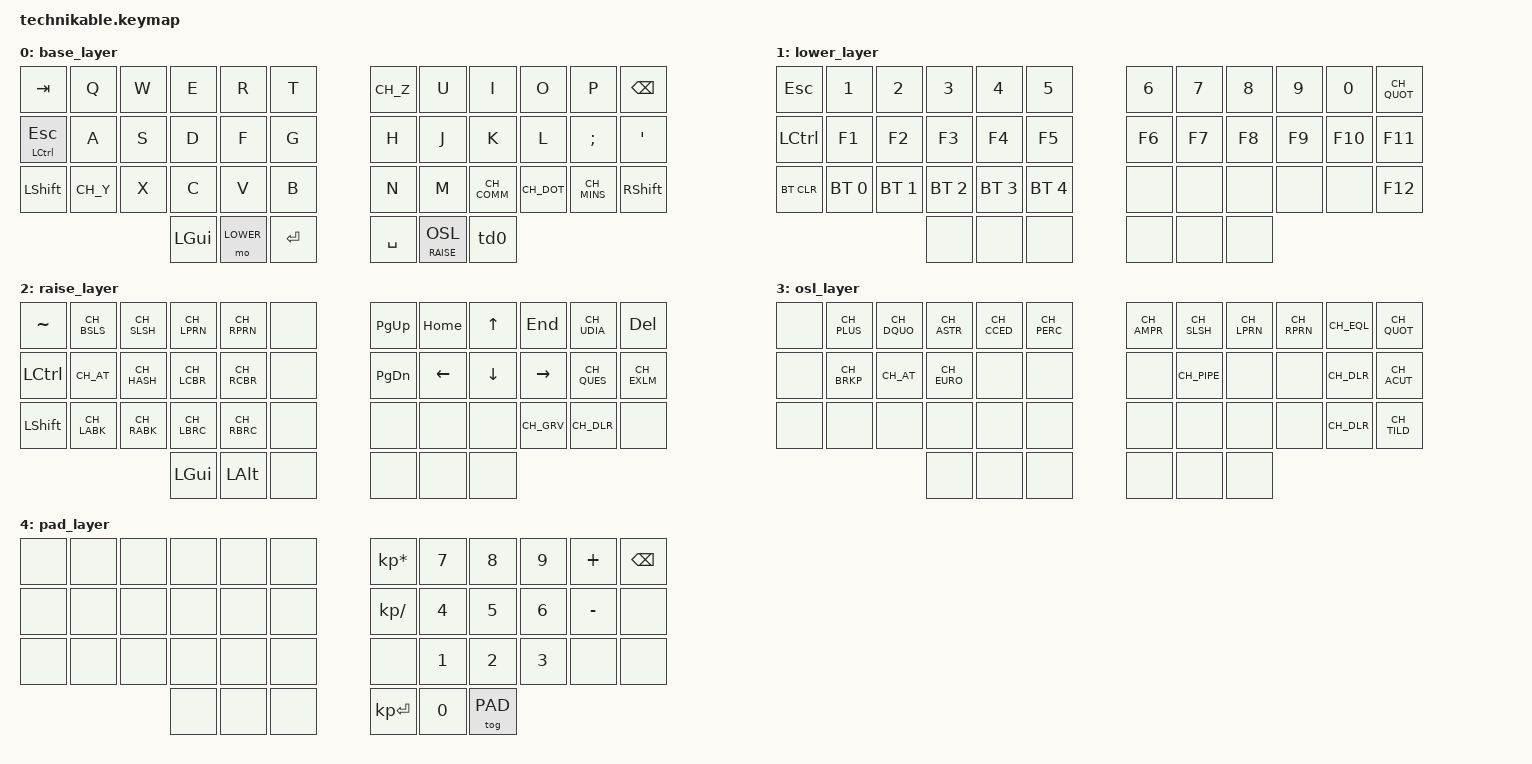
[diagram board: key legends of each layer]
/*
 * Copyright (c) 2022 Pete Johanson
 *
 * SPDX-License-Identifier: MIT
 */

#include <behaviors.dtsi>
#include <dt-bindings/zmk/keys.h>
#include <dt-bindings/zmk/bt.h>
#include <dt-bindings/zmk/outputs.h>
#include "keymap_swiss_de.h"

#define BAS_L 0
#define LOWER 1
#define RAISE 2
#define OSL   3
#define GAME  4
#define PAD   5

// Using layer taps on thumbs, having quick tap as well helps w/ repeating space/backspace
&lt { quick_tap_ms = <200>; };
&mt { tapping-term-ms = <150>; };

/ {
    chosen {
       zmk,matrix_transform = &dual_2u_transform;
    };

    behaviors {
        mo_sl: behavior_mo_sl {
            compatible = "zmk,behavior-hold-tap";
            label = "mo_sl";
            #binding-cells = <2>;
            flavor = "hold-preferred";
            tapping-term-ms = <150>;
            bindings = <&mo>, <&sl>;
        };
        td0: td_alt_dance {
            compatible = "zmk,behavior-tap-dance";
            label = "ALTD";
            #binding-cells = <0>;
            tapping-term-ms = <150>;
            bindings = <&kp LALT>, <&kp RALT>, <&tog PAD>;
        };
    };

    keymap {
        compatible = "zmk,keymap";

        base_layer {
            bindings = <
//,---------------------------------------------------------------------------------------------------------------------------------------------------------.
    &kp TAB      &kp Q        &kp W        &kp E        &kp R        &kp T      &kp CH_Z    &kp U        &kp I      &kp O       &kp P        &kp BSPC
//|-------------+------------+------------+------------+------------+----------+-----------+------------+----------+-----------+------------+----------|
    &mt LCTRL ESC  &kp A      &kp S        &kp D        &kp F        &kp G      &kp H       &kp J        &kp K      &kp L       &kp SEMI     &kp SQT
//|-------------+------------+------------+------------+------------+----------+-----------+------------+----------+-----------+------------+----------|
    &kp LSHFT    &kp CH_Y     &kp X        &kp C        &kp V        &kp B      &kp N       &kp M        &kp CH_COMM &kp CH_DOT &kp CH_MINS  &kp RSHIFT
//|-------------+------------+------------+------------+------------+----------+-----------+------------+----------+-----------+------------+----------|
                                           &kp LGUI     &mo LOWER    &kp RET    &kp SPACE   &mo_sl RAISE OSL &td0
//,---------------------------------------+------------+------------+----------+-----------+------------+-------------------------------------------.
            >;
        };
        lower_layer {
            bindings = <
//,---------------------------------------------------------------------------------------------------------------------------------------------------------.
    &kp ESC      &kp N1       &kp N2       &kp N3       &kp N4       &kp N5     &kp N6      &kp N7       &kp N8     &kp N9      &kp N0       &kp CH_QUOT
//|-------------+------------+------------+------------+------------+----------+-----------+------------+----------+-----------+------------+----------|
    &kp LCTRL    &kp F1       &kp F2       &kp F3       &kp F4       &kp F5     &kp F6      &kp F7       &kp F8     &kp F9      &kp F10      &kp F11
//|-------------+------------+------------+------------+------------+----------+-----------+------------+----------+-----------+------------+----------|
    &bt BT_CLR   &bt BT_SEL 0 &bt BT_SEL 1 &bt BT_SEL 2 &bt BT_SEL 3 &bt BT_SEL 4  &none       &none        &none      &none       &none        &kp F12
//|-------------+------------+------------+------------+------------+----------+-----------+------------+----------+-----------+------------+----------|
                          	               &none        &none        &none      &none       &none        &none
//,---------------------------------------+------------+------------+----------+-----------+------------+-------------------------------------------.
            >;
        };
        raise_layer {
            bindings = <
//,---------------------------------------------------------------------------------------------------------------------------------------------------------.
    &kp TILDE    &kp CH_BSLS  &kp CH_SLSH  &kp CH_LPRN  &kp CH_RPRN  &none      &kp PG_UP    &kp HOME     &kp UP      &kp END    &kp CH_UDIA  &kp DEL
//|-------------+------------+------------+------------+------------+----------+-----------+------------+----------+-----------+------------+----------|
    &kp LCTRL    &kp CH_AT    &kp CH_HASH  &kp CH_LCBR  &kp CH_RCBR  &none      &kp PG_DN    &kp LEFT     &kp DOWN    &kp RIGHT  &kp CH_QUES  &kp CH_EXLM
//|-------------+------------+------------+------------+------------+----------+-----------+------------+----------+-----------+------------+----------|
    &kp LSHFT    &kp CH_LABK  &kp CH_RABK  &kp CH_LBRC  &kp CH_RBRC  &none      &none       &none        &none      &kp CH_GRV  &kp CH_DLR   &none
//|-------------+------------+------------+------------+------------+----------+-----------+------------+----------+-----------+------------+----------|
                                           &kp LGUI     &kp LALT     &none      &none       &none        &none
//,---------------------------------------+------------+------------+----------+-----------+------------+-------------------------------------------.
            >;
        };
        osl_layer {
            bindings = <
//,---------------------------------------------------------------------------------------------------------------------------------------------------------.
    &none        &kp CH_PLUS  &kp CH_DQUO  &kp CH_ASTR  &kp CH_CCED  &kp CH_PERC  &kp CH_AMPR &kp CH_SLSH  &kp CH_LPRN &kp CH_RPRN &kp CH_EQL  &kp CH_QUOT
//|-------------+------------+------------+------------+------------+----------+-----------+------------+----------+-----------+------------+----------|
    &none        &kp CH_BRKP  &kp CH_AT    &kp CH_EURO  &none        &none      &none       &kp CH_PIPE &none        &none      &kp CH_DLR   &kp CH_ACUT
//|-------------+------------+------------+------------+------------+----------+-----------+------------+----------+-----------+------------+----------|
    &none        &none        &none        &none        &none        &none      &none      &none         &none      &none       &kp CH_DLR   &kp CH_TILD
//|-------------+------------+------------+------------+------------+----------+-----------+------------+----------+-----------+------------+----------|
                                           &none        &none        &none      &none       &none        &none
//,---------------------------------------+------------+------------+----------+-----------+------------+-------------------------------------------.
            >;
        };
        pad_layer {
            bindings = <
//,---------------------------------------------------------------------------------------------------------------------------------------------------------.
    &none        &none        &none        &none        &none        &none      &kp KP_MULTIPLY  &kp N7  &kp N8     &kp N9       &kp PLUS   &kp BSPC
//|-------------+------------+------------+------------+------------+----------+-----------+------------+----------+-----------+------------+----------|
    &none        &none        &none        &none        &none        &none      &kp KP_DIVIDE  &kp N4    &kp N5     &kp N6       &kp MINUS  &none
//|-------------+------------+------------+------------+------------+----------+-----------+------------+----------+-----------+------------+----------|
    &none        &none        &none        &none        &none        &none      &none      &kp N1        &kp N2     &kp N3       &none      &none
//|-------------+------------+------------+------------+------------+----------+-----------+------------+----------+-----------+------------+----------|
                                           &none        &none        &none      &kp KP_ENTER &kp N0      &tog PAD
//,---------------------------------------+------------+------------+----------+-----------+------------+-------------------------------------------.
            >;
        };

    };
};

